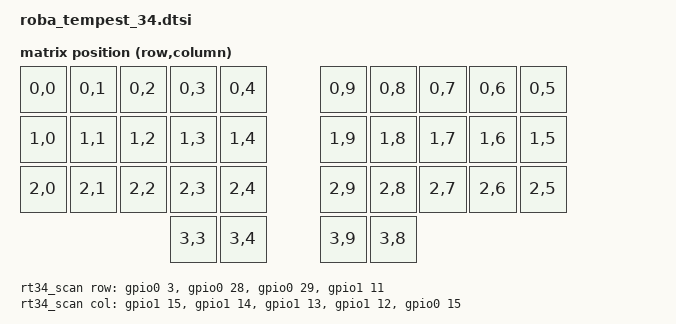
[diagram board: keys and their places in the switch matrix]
// XIAO nRF52840 Plus; local column order is pinky, ring, middle, index, inner.
#include <dt-bindings/zmk/matrix_transform.h>
#include <physical_layouts.dtsi>
#include "roba_tempest_34-layout.dtsi"

/ {
    chosen { zmk,physical-layout = &rt34_layout; };

    rt34_transform: keymap_transform {
        compatible = "zmk,matrix-transform";
        rows = <4>;
        columns = <10>;
        // Left is columns 0..4; right is columns 5..9, reversed visually.
        // Thumb order: left MID,FAR; right FAR,MID.
        map = <
            RC(0,0) RC(0,1) RC(0,2) RC(0,3) RC(0,4) RC(0,9) RC(0,8) RC(0,7) RC(0,6) RC(0,5)
            RC(1,0) RC(1,1) RC(1,2) RC(1,3) RC(1,4) RC(1,9) RC(1,8) RC(1,7) RC(1,6) RC(1,5)
            RC(2,0) RC(2,1) RC(2,2) RC(2,3) RC(2,4) RC(2,9) RC(2,8) RC(2,7) RC(2,6) RC(2,5)
            RC(3,3) RC(3,4) RC(3,9) RC(3,8)
        >;
    };

    rt34_scan: kscan {
        compatible = "zmk,kscan-gpio-matrix";
        diode-direction = "col2row";
        row-gpios = <&gpio0 3 (GPIO_ACTIVE_HIGH | GPIO_PULL_DOWN)>,
                    <&gpio0 28 (GPIO_ACTIVE_HIGH | GPIO_PULL_DOWN)>,
                    <&gpio0 29 (GPIO_ACTIVE_HIGH | GPIO_PULL_DOWN)>,
                    <&gpio1 11 (GPIO_ACTIVE_HIGH | GPIO_PULL_DOWN)>;
        col-gpios = <&gpio1 15 GPIO_ACTIVE_HIGH>,
                    <&gpio1 14 GPIO_ACTIVE_HIGH>,
                    <&gpio1 13 GPIO_ACTIVE_HIGH>,
                    <&gpio1 12 GPIO_ACTIVE_HIGH>,
                    <&gpio0 15 GPIO_ACTIVE_HIGH>; // Plus D11, not NFC2.
    };

    trackball_listener: trackball_listener {
        compatible = "zmk,input-listener";
        status = "disabled";
    };
    split_inputs {
        #address-cells = <1>;
        #size-cells = <0>;
        trackball_split: trackball_split@0 {
            compatible = "zmk,input-split";
            reg = <0>;
            status = "disabled";
        };
    };
    remote_trackball_listener: remote_trackball_listener {
        compatible = "zmk,input-listener";
        device = <&trackball_split>;
        status = "disabled";
    };
};

// The Plus uses R16=1M and R17=499k, not the base board's 510k divider.
&vbatt {
    io-channels = <&adc 7>; // P0.31 / D16 is sensing only.
    power-gpios = <&gpio0 14 (GPIO_OPEN_DRAIN | GPIO_ACTIVE_LOW)>;
    output-ohms = <499000>;
    full-ohms = <1499000>;
};

// Matrix/sensor pins must not be claimed by the inherited UART/I2C/SPI2.
&xiao_serial { status = "disabled"; };
&i2c0 { status = "disabled"; };
&spi2 { status = "disabled"; };
// Internal MCU flash stores firmware/settings. External flash is unused;
// avoid inheriting a particular non-Plus flash chip's JEDEC assumptions.
&qspi { status = "disabled"; };
&gd25q16 { status = "disabled"; };
&p25q16h { status = "disabled"; };

&pinctrl {
    rt34_spi_default: rt34_spi_default {
        group1 {
            psels = <NRF_PSEL(SPIM_SCK, 0, 5)>,
                    <NRF_PSEL(SPIM_MOSI, 0, 4)>,
                    <NRF_PSEL(SPIM_MISO, 0, 4)>; // roBa shared SDIO line.
        };
    };
    rt34_spi_sleep: rt34_spi_sleep {
        group1 {
            psels = <NRF_PSEL(SPIM_SCK, 0, 5)>,
                    <NRF_PSEL(SPIM_MOSI, 0, 4)>,
                    <NRF_PSEL(SPIM_MISO, 0, 4)>;
            low-power-enable;
        };
    };
};
&spi0 {
    compatible = "nordic,nrf-spim";
    status = "disabled";
    pinctrl-0 = <&rt34_spi_default>;
    pinctrl-1 = <&rt34_spi_sleep>;
    pinctrl-names = "default", "sleep";
    cs-gpios = <&gpio0 19 GPIO_ACTIVE_LOW>; // Plus D12, not NFC1.
    trackball: trackball@0 {
        compatible = "pixart,pmw3610";
        status = "disabled";
        reg = <0>;
        spi-max-frequency = <2000000>;
        irq-gpios = <&gpio0 2 (GPIO_ACTIVE_LOW | GPIO_PULL_UP)>;
        // Layer-dependent processing is performed centrally for BOTH sensors.
        automouse-layer = <0>; // Zero disables the driver's preprocessor-gated automouse code.
    };
};
